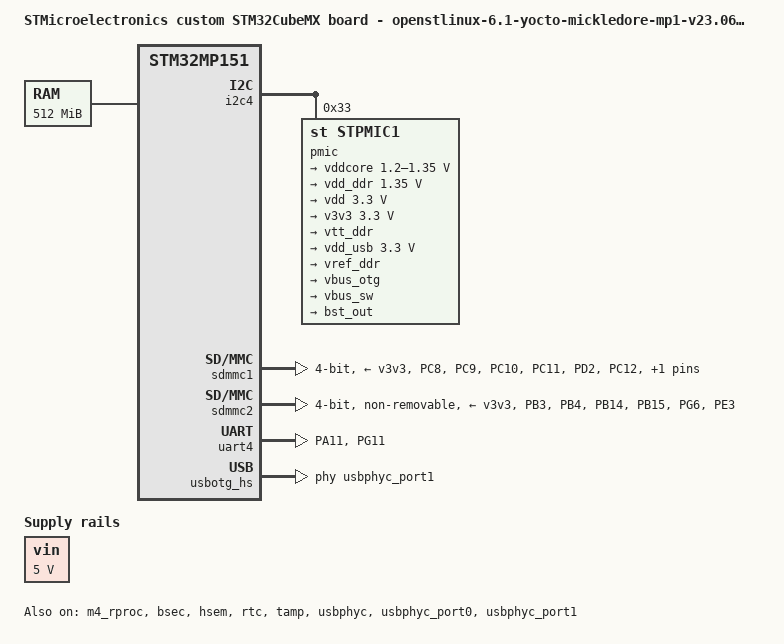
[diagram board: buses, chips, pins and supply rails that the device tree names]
// SPDX-License-Identifier: (GPL-2.0-or-later OR BSD-3-Clause)
/*
 * Copyright (C) 2023, STMicroelectronics - All Rights Reserved
 * Author: STM32CubeMX code generation for STMicroelectronics.
 */

/* For more information on Device Tree configuration, please refer to
 * https://wiki.st.com/stm32mpu/wiki/Category:Device_tree_configuration
 */

/dts-v1/;
#include <dt-bindings/pinctrl/stm32-pinfunc.h>

#include "stm32mp151.dtsi"
#include "stm32mp15xa.dtsi"
#include "stm32mp15xxac-pinctrl.dtsi"
#include "stm32mp15-m4-srm.dtsi"

/* USER CODE BEGIN includes */
#include "stm32mp151a-tios-scmi.dtsi"
#include <dt-bindings/mfd/st,stpmic1.h>
/* USER CODE END includes */

/ {
	model = "STMicroelectronics custom STM32CubeMX board - openstlinux-6.1-yocto-mickledore-mp1-v23.06.21";
	compatible = "st,stm32mp151a-tios-mx", "st,stm32mp151";

	memory@c0000000 {
		device_type = "memory";
		reg = <0xc0000000 0x20000000>;

		/* USER CODE BEGIN memory */
		/* USER CODE END memory */
	};

	reserved-memory {
		#address-cells = <1>;
		#size-cells = <1>;
		ranges;

		/* USER CODE BEGIN reserved-memory */
		/* USER CODE END reserved-memory */
	};

	/* USER CODE BEGIN root */
	aliases {		
		serial0 = &uart4;
	};
	chosen {
		stdout-path = "serial0:115200n8";
	};
	vin: vin {
		compatible = "regulator-fixed";
		regulator-name = "vin";
		regulator-min-microvolt = <5000000>;
		regulator-max-microvolt = <5000000>;
		regulator-always-on;
	};
	/* USER CODE END root */

	clocks{

		/* USER CODE BEGIN clocks */
		/* USER CODE END clocks */
	};

}; /*root*/

&pinctrl {

	sdmmc1_pins_mx: sdmmc1_mx-0 {
		pins1 {
			pinmux = <STM32_PINMUX('C', 8, AF12)>, /* SDMMC1_D0 */
					 <STM32_PINMUX('C', 9, AF12)>, /* SDMMC1_D1 */
					 <STM32_PINMUX('C', 10, AF12)>, /* SDMMC1_D2 */
					 <STM32_PINMUX('C', 11, AF12)>, /* SDMMC1_D3 */
					 <STM32_PINMUX('D', 2, AF12)>; /* SDMMC1_CMD */
			bias-disable;
			drive-push-pull;
			slew-rate = <1>;
		};
		pins2 {
			pinmux = <STM32_PINMUX('C', 12, AF12)>; /* SDMMC1_CK */
			bias-disable;
			drive-push-pull;
			slew-rate = <3>;
		};
	};

	sdmmc1_opendrain_pins_mx: sdmmc1_opendrain_mx-0 {
		pins1 {
			pinmux = <STM32_PINMUX('C', 8, AF12)>, /* SDMMC1_D0 */
					 <STM32_PINMUX('C', 9, AF12)>, /* SDMMC1_D1 */
					 <STM32_PINMUX('C', 10, AF12)>, /* SDMMC1_D2 */
					 <STM32_PINMUX('C', 11, AF12)>; /* SDMMC1_D3 */
			bias-disable;
			drive-push-pull;
			slew-rate = <1>;
		};
		pins2 {
			pinmux = <STM32_PINMUX('C', 12, AF12)>; /* SDMMC1_CK */
			bias-disable;
			drive-push-pull;
			slew-rate = <3>;
		};
		pins3 {
			pinmux = <STM32_PINMUX('D', 2, AF12)>; /* SDMMC1_CMD */
			bias-disable;
			drive-open-drain;
			slew-rate = <1>;
		};
	};

	sdmmc1_sleep_pins_mx: sdmmc1_sleep_mx-0 {
		pins {
			pinmux = <STM32_PINMUX('C', 8, ANALOG)>, /* SDMMC1_D0 */
					 <STM32_PINMUX('C', 9, ANALOG)>, /* SDMMC1_D1 */
					 <STM32_PINMUX('C', 10, ANALOG)>, /* SDMMC1_D2 */
					 <STM32_PINMUX('C', 11, ANALOG)>, /* SDMMC1_D3 */
					 <STM32_PINMUX('C', 12, ANALOG)>, /* SDMMC1_CK */
					 <STM32_PINMUX('D', 2, ANALOG)>; /* SDMMC1_CMD */
		};
	};

	sdmmc2_pins_mx: sdmmc2_mx-0 {
		pins1 {
			pinmux = <STM32_PINMUX('B', 3, AF9)>, /* SDMMC2_D2 */
					 <STM32_PINMUX('B', 4, AF9)>, /* SDMMC2_D3 */
					 <STM32_PINMUX('B', 14, AF9)>, /* SDMMC2_D0 */
					 <STM32_PINMUX('B', 15, AF9)>, /* SDMMC2_D1 */
					 <STM32_PINMUX('G', 6, AF10)>; /* SDMMC2_CMD */
			bias-disable;
			drive-push-pull;
			slew-rate = <1>;
		};
		pins2 {
			pinmux = <STM32_PINMUX('E', 3, AF9)>; /* SDMMC2_CK */
			bias-disable;
			drive-push-pull;
			slew-rate = <3>;
		};
	};

	sdmmc2_opendrain_pins_mx: sdmmc2_opendrain_mx-0 {
		pins1 {
			pinmux = <STM32_PINMUX('B', 3, AF9)>, /* SDMMC2_D2 */
					 <STM32_PINMUX('B', 4, AF9)>, /* SDMMC2_D3 */
					 <STM32_PINMUX('B', 14, AF9)>, /* SDMMC2_D0 */
					 <STM32_PINMUX('B', 15, AF9)>; /* SDMMC2_D1 */
			bias-disable;
			drive-push-pull;
			slew-rate = <1>;
		};
		pins2 {
			pinmux = <STM32_PINMUX('E', 3, AF9)>; /* SDMMC2_CK */
			bias-disable;
			drive-push-pull;
			slew-rate = <3>;
		};
		pins3 {
			pinmux = <STM32_PINMUX('G', 6, AF10)>; /* SDMMC2_CMD */
			bias-disable;
			drive-open-drain;
			slew-rate = <1>;
		};
	};

	sdmmc2_sleep_pins_mx: sdmmc2_sleep_mx-0 {
		pins {
			pinmux = <STM32_PINMUX('B', 3, ANALOG)>, /* SDMMC2_D2 */
					 <STM32_PINMUX('B', 4, ANALOG)>, /* SDMMC2_D3 */
					 <STM32_PINMUX('B', 14, ANALOG)>, /* SDMMC2_D0 */
					 <STM32_PINMUX('B', 15, ANALOG)>, /* SDMMC2_D1 */
					 <STM32_PINMUX('E', 3, ANALOG)>, /* SDMMC2_CK */
					 <STM32_PINMUX('G', 6, ANALOG)>; /* SDMMC2_CMD */
		};
	};

	uart4_pins_mx: uart4_mx-0 {
		pins1 {
			pinmux = <STM32_PINMUX('A', 11, AF6)>; /* UART4_RX */
			bias-disable;
		};
		pins2 {
			pinmux = <STM32_PINMUX('G', 11, AF6)>; /* UART4_TX */
			bias-disable;
			drive-push-pull;
			slew-rate = <0>;
		};
	};

	uart4_idle_pins_mx: uart4_idle_mx-0 {
		pins1 {
			pinmux = <STM32_PINMUX('A', 11, AF6)>; /* UART4_RX */
			bias-disable;
		};
		pins2 {
			pinmux = <STM32_PINMUX('G', 11, ANALOG)>; /* UART4_TX */
		};
	};

	uart4_sleep_pins_mx: uart4_sleep_mx-0 {
		pins {
			pinmux = <STM32_PINMUX('A', 11, ANALOG)>, /* UART4_RX */
					 <STM32_PINMUX('G', 11, ANALOG)>; /* UART4_TX */
		};
	};

	/* USER CODE BEGIN pinctrl */
	/* USER CODE END pinctrl */
};

&pinctrl_z {

	i2c4_pins_z_mx: i2c4_mx-0 {
		pins {
			pinmux = <STM32_PINMUX('Z', 4, AF6)>, /* I2C4_SCL */
					 <STM32_PINMUX('Z', 5, AF6)>; /* I2C4_SDA */
			bias-disable;
			drive-open-drain;
			slew-rate = <0>;
		};
	};

	i2c4_sleep_pins_z_mx: i2c4_sleep_mx-0 {
		pins {
			pinmux = <STM32_PINMUX('Z', 4, ANALOG)>, /* I2C4_SCL */
					 <STM32_PINMUX('Z', 5, ANALOG)>; /* I2C4_SDA */
		};
	};

	/* USER CODE BEGIN pinctrl_z */
	/* USER CODE END pinctrl_z */
};

&m4_rproc{
	status = "okay";

	/* USER CODE BEGIN m4_rproc */
	/* USER CODE END m4_rproc */

	m4_system_resources{
		status = "okay";

		/* USER CODE BEGIN m4_system_resources */
		/* USER CODE END m4_system_resources */
	};
};

&bsec{
	status = "okay";

	/* USER CODE BEGIN bsec */
	/* USER CODE END bsec */
};

&dma1{
	status = "okay";

	/* USER CODE BEGIN dma1 */
	/* USER CODE END dma1 */
};

&dma2{
	status = "disabled";

	/* USER CODE BEGIN dma2 */
	/* USER CODE END dma2 */
};

&dmamux1{
	status = "okay";

	dma-masters = <&dma1>;
	dma-channels = <8>;

	/* USER CODE BEGIN dmamux1 */
	/* USER CODE END dmamux1 */
};

&hsem{
	status = "okay";

	/* USER CODE BEGIN hsem */
	/* USER CODE END hsem */
};

&i2c4{
	pinctrl-names = "default", "sleep";
	pinctrl-0 = <&i2c4_pins_z_mx>;
	pinctrl-1 = <&i2c4_sleep_pins_z_mx>;
	status = "okay";

	/* USER CODE BEGIN i2c4 */
	pmic: stpmic@33 {
		compatible = "st,stpmic1";
		reg = <0x33>;
		status = "okay";
		regulators {
			compatible = "st,stpmic1-regulators";
			buck1-supply = <&vin>;
			buck2-supply = <&vin>;
			buck3-supply = <&vin>;
			buck4-supply = <&vin>;
			
			ldo3-supply = <&vdd_ddr>;
			ldo4-supply = <&vin>;
			//ldo5-supply = <&vin>;
			
			vref_ddr-supply = <&vin>;
			boost-supply = <&vin>;
			pwr_sw1-supply = <&bst_out>;
			pwr_sw2-supply = <&bst_out>;

			vddcore: buck1 {
				regulator-name = "vddcore";
				regulator-min-microvolt = <1200000>;
				regulator-max-microvolt = <1350000>;
				regulator-always-on;
				regulator-initial-mode = <0>;
				regulator-over-current-protection;
			};

			vdd_ddr: buck2 {
				regulator-name = "vdd_ddr";
				regulator-min-microvolt = <1350000>;
				regulator-max-microvolt = <1350000>;
				regulator-always-on;
				regulator-initial-mode = <0>;
				regulator-over-current-protection;
			};

			vdd: buck3 {
				regulator-name = "vdd";
				regulator-min-microvolt = <3300000>;
				regulator-max-microvolt = <3300000>;
				regulator-always-on;
				st,mask-reset;
				regulator-initial-mode = <0>;
				regulator-over-current-protection;
			};

			v3v3: buck4 {
				regulator-name = "v3v3";
				regulator-min-microvolt = <3300000>;
				regulator-max-microvolt = <3300000>;
				regulator-always-on;
				regulator-over-current-protection;
				regulator-initial-mode = <0>;
			};

			vtt_ddr: ldo3 {
				regulator-name = "vtt_ddr";
				regulator-always-on;
				regulator-over-current-protection;
				st,regulator-sink-source;
			};
			vdd_usb: ldo4 {
				regulator-name = "vdd_usb";
				regulator-min-microvolt = <3300000>;
				regulator-max-microvolt = <3300000>;
				regulator-over-current-protection;
				regulator-always-on;
			};
			vref_ddr: vref_ddr {
				regulator-name = "vref_ddr";
				regulator-always-on;
			};
			vbus_otg: pwr_sw1 {
				regulator-name = "vbus_otg";
				interrupts = <IT_OCP_OTG 0>;
			 };
			vbus_sw: pwr_sw2 {
				regulator-name = "vbus_sw";
				interrupts = <IT_OCP_SWOUT 0>;
				regulator-active-discharge = <1>;
			};
			bst_out: boost {
				regulator-name = "bst_out";
				interrupts = <IT_OCP_BOOST 0>;
			 };
		};
	};
	/* USER CODE END i2c4 */
};

&m4_dma2{
	status = "okay";

	/* USER CODE BEGIN m4_dma2 */
	/* USER CODE END m4_dma2 */
};

&mdma1{
	status = "okay";

	/* USER CODE BEGIN mdma1 */
	/* USER CODE END mdma1 */
};

&rcc{
	status = "okay";

	/* USER CODE BEGIN rcc */
	/* USER CODE END rcc */
};

&rtc{
	status = "okay";

	/* USER CODE BEGIN rtc */
	/* USER CODE END rtc */
};

&sdmmc1{
	pinctrl-names = "default", "opendrain", "sleep";
	pinctrl-0 = <&sdmmc1_pins_mx>;
	pinctrl-1 = <&sdmmc1_opendrain_pins_mx>;
	pinctrl-2 = <&sdmmc1_sleep_pins_mx>;
	status = "okay";

	/* USER CODE BEGIN sdmmc1 */
	cd-gpios = <&gpiob 7 (GPIO_ACTIVE_LOW | GPIO_PULL_UP)>;
	disable-wp;
	st,neg-edge;
	bus-width = <4>;
	vmmc-supply = <&v3v3>;
	/* USER CODE END sdmmc1 */
};

&sdmmc2{
	pinctrl-names = "default", "opendrain", "sleep";
	pinctrl-0 = <&sdmmc2_pins_mx>;
	pinctrl-1 = <&sdmmc2_opendrain_pins_mx>;
	pinctrl-2 = <&sdmmc2_sleep_pins_mx>;
	status = "okay";

	/* USER CODE BEGIN sdmmc2 */
	non-removable;
	no-sd;
	no-sdio;
	st,neg-edge;
	bus-width = <4>;
	vmmc-supply = <&v3v3>;
	vqmmc-supply = <&vdd>;
	mmc-ddr-3_3v;
	/* USER CODE END sdmmc2 */
};

&tamp{
	status = "okay";

	/* USER CODE BEGIN tamp */
	/* USER CODE END tamp */
};

&uart4{
	pinctrl-names = "default", "idle", "sleep";
	pinctrl-0 = <&uart4_pins_mx>;
	pinctrl-1 = <&uart4_idle_pins_mx>;
	pinctrl-2 = <&uart4_sleep_pins_mx>;
	status = "okay";

	/* USER CODE BEGIN uart4 */
	/* USER CODE END uart4 */
};

&usbotg_hs{
	status = "okay";

	/* USER CODE BEGIN usbotg_hs */
	phys = <&usbphyc_port1 0>;
	phy-names = "usb2-phy";
	usb-role-switch;
	/* USER CODE END usbotg_hs */
};

&usbphyc{
	status = "okay";

	/* USER CODE BEGIN usbphyc */
	/* USER CODE END usbphyc */
};

&usbphyc_port0{
	status = "okay";

	/* USER CODE BEGIN usbphyc_port0 */
	phy-supply = <&vdd_usb>;
	/* USER CODE END usbphyc_port0 */
};

&usbphyc_port1{
	status = "okay";

	/* USER CODE BEGIN usbphyc_port1 */
	phy-supply = <&vdd_usb>;
	st,tune-hs-dc-level = <2>;
	st,enable-fs-rftime-tuning;
	st,enable-hs-rftime-reduction;
	st,trim-hs-current = <15>;
	st,trim-hs-impedance = <1>;
	st,tune-squelch-level = <3>;
	st,tune-hs-rx-offset = <2>;
	st,no-lsfs-sc;
	/* USER CODE END usbphyc_port1 */
};

/* USER CODE BEGIN addons */
&pwr_regulators {
	vdd-supply = <&vdd>;
	vdd_3v3_usbfs-supply = <&vdd_usb>;
};
/* USER CODE END addons */

